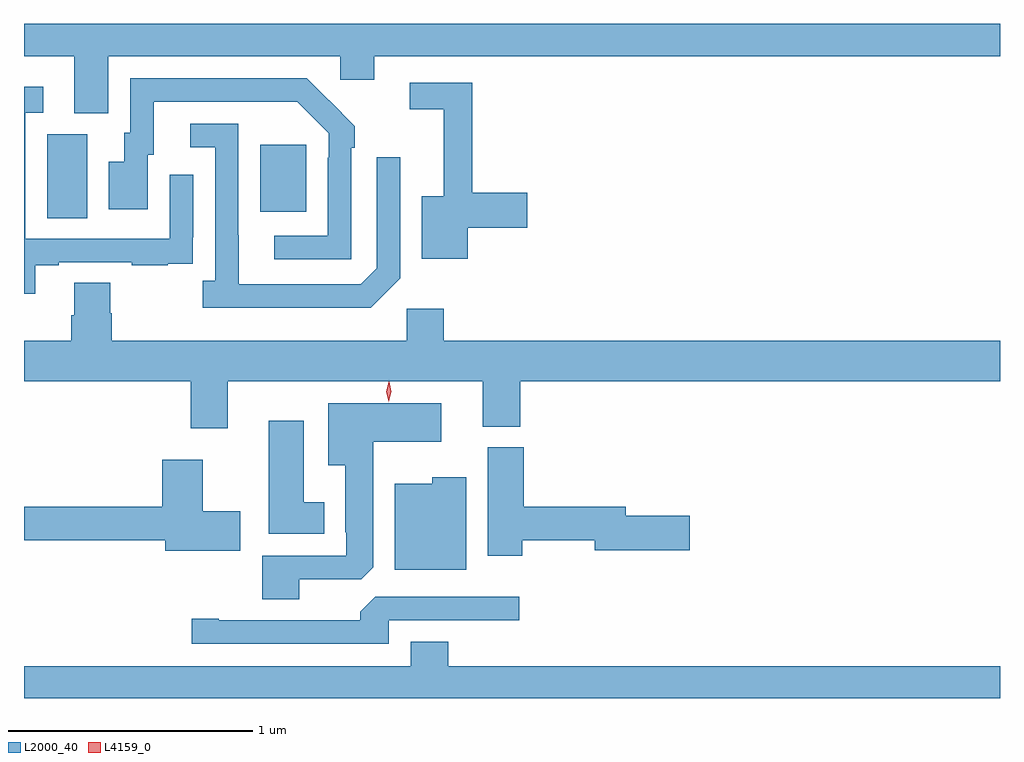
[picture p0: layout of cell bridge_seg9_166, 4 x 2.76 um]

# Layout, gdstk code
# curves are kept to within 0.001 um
import gdstk
lib = gdstk.Library(unit=1e-6, precision=1e-09)
def R(c, l, rs):  # rectangles x0, y0, x1, y1
    for r in rs: c.add(gdstk.rectangle(r[:2], r[2:], *l))
def P(c, l, *ps):  # polygons
    for p in ps: c.add(gdstk.Polygon(p, *l))
L2000_40 = (2000, 40)
L4159_0 = (4159, 0)

bridge_seg9_166 = lib.new_cell('bridge_seg9_166')
R(bridge_seg9_166, L2000_40, [(250.124,1247.704,250.288,1248.048), (250.997,1247.729,251.185,1248.004)])
P(bridge_seg9_166, L2000_40, [(250.375,1248.368),(251.325,1248.368),(251.325,1248.27),(251.464,1248.27),(251.464,1248.368),(254.029,1248.368),(254.029,1248.5),(250.029,1248.5),(250.029,1248.368),(250.235,1248.368),(250.235,1248.133),(250.375,1248.133)],
  [(251.37,1247.993),(251.385,1247.993),(251.385,1248.081),(251.188,1248.276),(250.464,1248.276),(250.464,1248.054),(250.439,1248.054),(250.439,1247.935),(250.376,1247.935),(250.376,1247.739),(250.537,1247.739),(250.537,1247.964),(250.561,1247.964),(250.561,1248.18),(251.149,1248.18),(251.277,1248.051),(251.277,1247.951),(251.274,1247.951),(251.274,1247.631),(251.055,1247.631),(251.055,1247.535),(251.37,1247.535)],
  [(251.848,1247.665),(252.091,1247.665),(252.091,1247.807),(251.867,1247.807),(251.867,1248.258),(251.61,1248.258),(251.61,1248.15),(251.75,1248.15),(251.75,1247.794),(251.66,1247.794),(251.66,1247.537),(251.848,1247.537)],
  [(250.075,1247.511),(250.171,1247.511),(250.171,1247.523),(250.471,1247.523),(250.471,1247.511),(250.619,1247.511),(250.619,1247.517),(250.721,1247.517),(250.721,1247.626),(250.722,1247.626),(250.722,1247.881),(250.626,1247.881),(250.626,1247.619),(250.035,1247.619),(250.035,1248.135),(250.108,1248.135),(250.108,1248.241),(250.029,1248.241),(250.029,1247.394),(250.075,1247.394)],
  [(251.571,1247.457),(251.571,1247.953),(251.475,1247.953),(251.475,1247.499),(251.409,1247.433),(250.909,1247.433),(250.908,1248.09),(250.71,1248.09),(250.71,1247.994),(250.812,1247.994),(250.812,1247.446),(250.761,1247.446),(250.761,1247.336),(251.45,1247.336)],
  [(251.75,1247.332),(251.598,1247.332),(251.598,1247.2),(250.388,1247.2),(250.388,1247.313),(250.383,1247.313),(250.383,1247.438),(250.235,1247.438),(250.235,1247.306),(250.223,1247.306),(250.223,1247.2),(250.029,1247.2),(250.029,1247.036),(250.712,1247.036),(250.712,1246.842),(250.864,1246.842),(250.864,1247.036),(251.909,1247.036),(251.909,1246.849),(252.062,1246.849),(252.062,1247.036),(254.029,1247.036),(254.029,1247.2),(251.75,1247.2)],
  [(251.158,1246.224),(251.412,1246.224),(251.461,1246.273),(251.461,1246.787),(251.74,1246.787),(251.74,1246.945),(251.276,1246.945),(251.276,1246.691),(251.345,1246.691),(251.345,1246.417),(251.349,1246.417),(251.349,1246.32),(251.006,1246.32),(251.006,1246.141),(251.158,1246.141)],
  [(251.26,1246.54),(251.176,1246.54),(251.176,1246.873),(251.033,1246.873),(251.033,1246.409),(251.26,1246.409)],
  [(252.072,1246.384),(252.368,1246.384),(252.368,1246.342),(252.757,1246.342),(252.757,1246.484),(252.496,1246.484),(252.496,1246.52),(252.077,1246.52),(252.077,1246.764),(251.93,1246.764),(251.93,1246.32),(252.072,1246.32)],
  [(250.915,1246.503),(250.762,1246.503),(250.762,1246.714),(250.595,1246.714),(250.595,1246.52),(250.029,1246.52),(250.029,1246.384),(250.607,1246.384),(250.607,1246.34),(250.915,1246.34)],
  [(251.842,1246.642),(251.703,1246.642),(251.703,1246.615),(251.549,1246.615),(251.549,1246.262),(251.842,1246.262)],
  [(251.523,1246.056),(252.058,1246.056),(252.058,1246.152),(251.469,1246.152),(251.408,1246.09),(251.408,1246.056),(250.828,1246.056),(250.828,1246.061),(250.716,1246.061),(250.716,1245.96),(251.523,1245.96)],
  [(254.029,1245.868),(251.768,1245.868),(251.768,1245.967),(251.615,1245.967),(251.615,1245.868),(250.029,1245.868),(250.029,1245.736),(254.029,1245.736)])
P(bridge_seg9_166, L4159_0, [(251.523,1246.95),(251.523,1246.95),(251.514,1246.991),(251.524,1247.032),(251.525,1247.032),(251.525,1247.032),(251.534,1246.991),(251.523,1246.95)])

lib.write_gds('bridge_seg9_166.gds')
